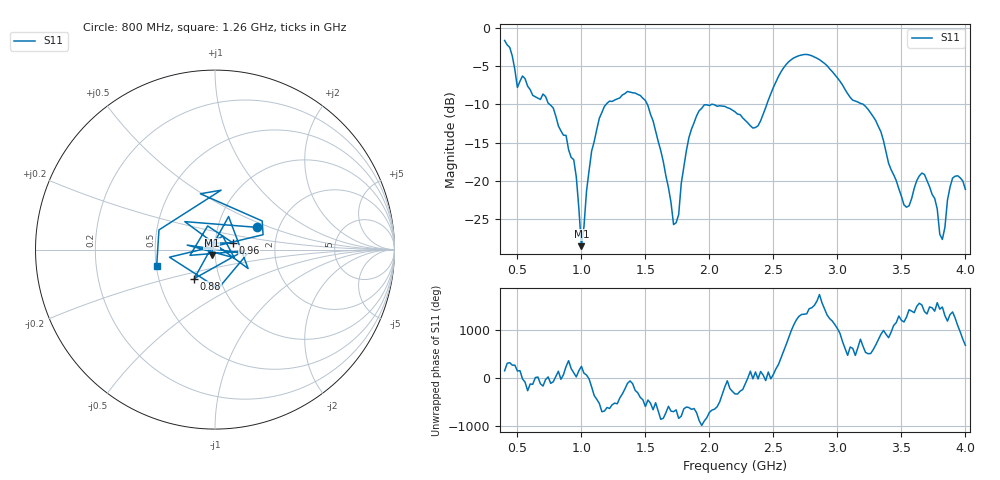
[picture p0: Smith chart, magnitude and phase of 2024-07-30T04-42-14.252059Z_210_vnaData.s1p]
!Created with skrf (http://scikit-rf.org).
# Hz S RI R 50.0
!freq ReS11 ImS11
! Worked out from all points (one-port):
!   181 points, 400 MHz to 4 GHz, reference 50 ohm
!   lowest |S11| = -28.5 dB at 1 GHz (marker M1), VSWR 1.08, Z = 48 - j3.09 ohm
!   |S11| at or under -10 dB: 752.9 MHz to 1.193 GHz (439.6 MHz wide, 45.2 % of centre); 1.515 GHz to 2.016 GHz (500.6 MHz wide, 28.4 % of centre); 3.203 GHz to end of sweep (the widest 3 of 4)
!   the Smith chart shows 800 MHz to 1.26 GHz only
!   S11 on the Smith chart (normalised r, x): 800 MHz: 1.55, +0.41; 880 MHz: 0.76, -0.25; 960 MHz: 1.22, +0.09; 1.26 GHz: 0.50, -0.11
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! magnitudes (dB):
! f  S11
! 400 MHz  -1.6
! 500 MHz  -7.8
! 800 MHz  -11.5
! 860 MHz  -14.0
! 880 MHz  -14.0
! 960 MHz  -19.5
! 1 GHz  -28.5
! 1.08 GHz  -16.1
! 1.18 GHz  -10.2
! 1.26 GHz  -9.4
! 1.3 GHz  -9.1
! 1.5 GHz  -9.5
! 1.64 GHz  -17.5
! 1.72 GHz  -25.7
! 1.76 GHz  -24.4
! 1.84 GHz  -14.3
! 1.92 GHz  -10.8
! 2.2 GHz  -11.0
! 2.38 GHz  -12.8
! 2.66 GHz  -3.9
! 2.86 GHz  -4.1
! 3.1 GHz  -9.1
! 3.3 GHz  -12.1
! 3.56 GHz  -23.2
! 3.68 GHz  -19.1
! 3.82 GHz  -27.6
! 3.9 GHz  -19.6
! 4 GHz  -21.1
